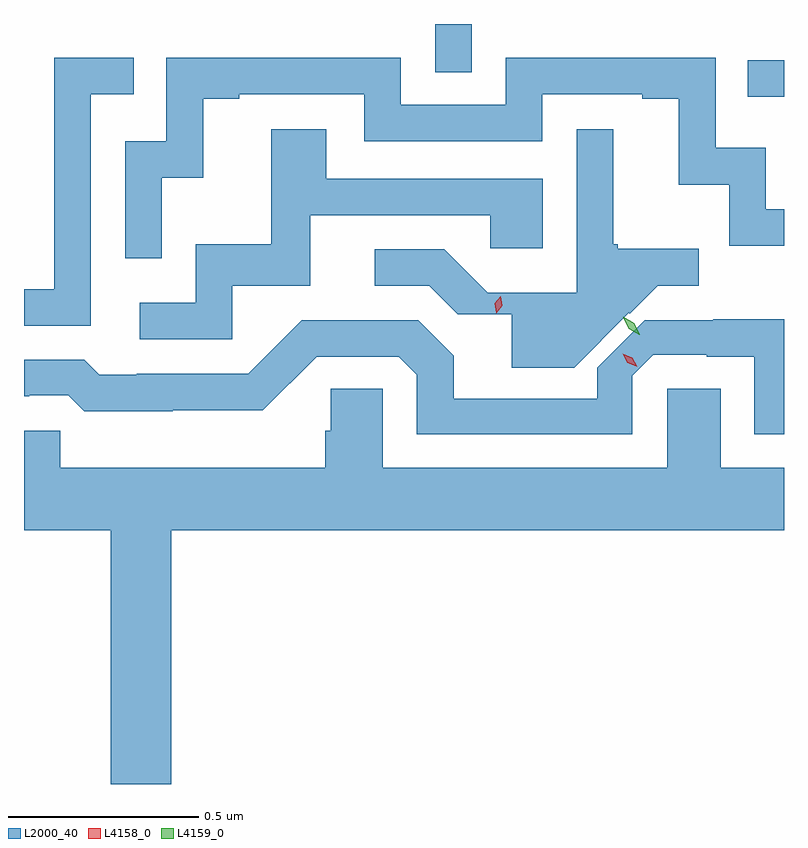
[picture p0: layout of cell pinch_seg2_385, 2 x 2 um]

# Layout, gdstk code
import gdstk
lib = gdstk.Library(unit=1e-6, precision=1e-09)
def R(c, l, rs):  # rectangles x0, y0, x1, y1
    for r in rs: c.add(gdstk.rectangle(r[:2], r[2:], *l))
def P(c, l, *ps):  # polygons
    for p in ps: c.add(gdstk.Polygon(p, *l))
L2000_40 = (2000, 40)
L4158_0 = (4158, 0)
L4159_0 = (4159, 0)

pinch_seg2_385 = lib.new_cell('pinch_seg2_385')
R(pinch_seg2_385, L2000_40, [(1002.379,624.8,1002.474,624.897), (1001.556,624.865,1001.652,624.992)])
P(pinch_seg2_385, L2000_40, [(1000.836,624.587),(1000.946,624.587),(1000.946,624.795),(1001.041,624.795),(1001.041,624.807),(1001.37,624.807),(1001.37,624.684),(1001.838,624.684),(1001.838,624.807),(1002.101,624.807),(1002.101,624.795),(1002.197,624.795),(1002.197,624.569),(1002.33,624.569),(1002.33,624.408),(1002.474,624.408),(1002.474,624.504),(1002.426,624.504),(1002.426,624.667),(1002.294,624.667),(1002.294,624.903),(1001.742,624.903),(1001.742,624.78),(1001.466,624.78),(1001.466,624.903),(1000.848,624.903),(1000.848,624.684),(1000.74,624.684),(1000.74,624.375),(1000.836,624.375)],
  [(1000.65,624.807),(1000.763,624.807),(1000.763,624.903),(1000.554,624.903),(1000.554,624.294),(1000.474,624.294),(1000.474,624.198),(1000.65,624.198)],
  [(1002.065,624.232),(1002.068,624.229),(1002.142,624.303),(1002.25,624.303),(1002.25,624.4),(1002.037,624.4),(1002.037,624.412),(1002.025,624.412),(1002.025,624.715),(1001.928,624.715),(1001.928,624.285),(1001.695,624.285),(1001.58,624.399),(1001.397,624.399),(1001.397,624.303),(1001.541,624.303),(1001.616,624.228),(1001.757,624.228),(1001.757,624.088),(1001.922,624.088)],
  [(1001.022,624.303),(1001.227,624.303),(1001.227,624.489),(1001.701,624.489),(1001.701,624.402),(1001.839,624.402),(1001.839,624.585),(1001.269,624.585),(1001.269,624.715),(1001.125,624.715),(1001.125,624.412),(1000.926,624.412),(1000.926,624.258),(1000.779,624.258),(1000.779,624.162),(1001.022,624.162)],
  [(1002.075,624.066),(1002.13,624.121),(1002.271,624.121),(1002.271,624.117),(1002.396,624.117),(1002.396,623.913),(1002.474,623.913),(1002.474,624.215),(1002.288,624.215),(1002.288,624.213),(1002.107,624.213),(1001.982,624.088),(1001.982,624.006),(1001.605,624.006),(1001.605,624.119),(1001.511,624.213),(1001.205,624.213),(1001.064,624.072),(1000.771,624.072),(1000.771,624.069),(1000.672,624.069),(1000.633,624.108),(1000.474,624.108),(1000.474,624.012),(1000.488,624.012),(1000.488,624.015),(1000.591,624.015),(1000.633,623.973),(1000.866,623.973),(1000.866,623.975),(1001.102,623.975),(1001.244,624.117),(1001.46,624.117),(1001.508,624.069),(1001.508,623.913),(1002.075,623.913)],
  [(1000.862,623.66),(1002.474,623.66),(1002.474,623.824),(1002.307,623.824),(1002.307,624.032),(1002.167,624.032),(1002.167,623.824),(1001.418,623.824),(1001.418,624.032),(1001.281,624.032),(1001.281,623.922),(1001.267,623.922),(1001.267,623.824),(1000.569,623.824),(1000.569,623.922),(1000.474,623.922),(1000.474,623.66),(1000.702,623.66),(1000.702,622.992),(1000.862,622.992)])
P(pinch_seg2_385, L4158_0, [(1002.088,624.09),(1002.062,624.1),(1002.049,624.124),(1002.049,624.124),(1002.05,624.124),(1002.075,624.114),(1002.088,624.09),(1002.088,624.09)],
  [(1001.717,624.231),(1001.717,624.232),(1001.713,624.257),(1001.729,624.276),(1001.729,624.276),(1001.729,624.276),(1001.733,624.251),(1001.717,624.231)])
P(pinch_seg2_385, L4159_0, [(1002.093,624.174),(1002.065,624.19),(1002.051,624.22),(1002.051,624.221),(1002.051,624.221),(1002.08,624.204),(1002.094,624.174),(1002.094,624.174)])

lib.write_gds('pinch_seg2_385.gds')
